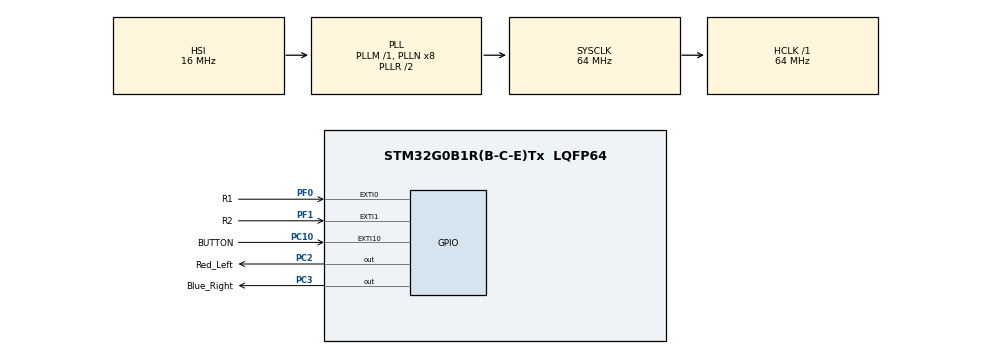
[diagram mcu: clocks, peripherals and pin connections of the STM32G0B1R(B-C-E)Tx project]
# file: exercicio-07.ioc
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Mcu.Family=STM32G0
Mcu.Name=STM32G0B1R(B-C-E)Tx
Mcu.Package=LQFP64
NVIC.EXTI0_1_IRQn=true\:0\:0\:false\:false\:true\:true\:true
NVIC.EXTI4_15_IRQn=true\:0\:0\:false\:false\:true\:true\:true
NVIC.RCC_CRS_IRQn=true\:0\:0\:false\:false\:true\:true\:false
PA13.Mode=Serial_Wire
PA13.Signal=SYS_SWDIO
PA14-BOOT0.Mode=Serial_Wire
PA14-BOOT0.Signal=SYS_SWCLK
PC10.GPIO_Label=BUTTON
PC10.GPIO_ModeDefaultEXTI=GPIO_MODE_IT_FALLING
PC10.GPIO_PuPd=GPIO_NOPULL
PC10.Signal=GPXTI10
PC2.GPIO_Label=Red_Left
PC2.GPIO_ModeDefaultOutputPP=GPIO_MODE_OUTPUT_PP
PC2.GPIO_PuPd=GPIO_PULLDOWN
PC2.GPIO_Speed=GPIO_SPEED_FREQ_VERY_HIGH
PC2.PinState=GPIO_PIN_RESET
PC2.Signal=GPIO_Output
PC3.GPIO_Label=Blue_Right
PC3.GPIO_ModeDefaultOutputPP=GPIO_MODE_OUTPUT_PP
PC3.GPIO_PuPd=GPIO_PULLDOWN
PC3.GPIO_Speed=GPIO_SPEED_FREQ_VERY_HIGH
PC3.PinState=GPIO_PIN_RESET
PC3.Signal=GPIO_Output
PF0-OSC_IN\ (PF0).GPIO_Label=R1
PF0-OSC_IN\ (PF0).GPIO_ModeDefaultEXTI=GPIO_MODE_IT_FALLING
PF0-OSC_IN\ (PF0).GPIO_PuPd=GPIO_NOPULL
PF0-OSC_IN\ (PF0).Signal=GPXTI0
PF1-OSC_OUT\ (PF1).GPIO_Label=R2
PF1-OSC_OUT\ (PF1).GPIO_ModeDefaultEXTI=GPIO_MODE_IT_FALLING
PF1-OSC_OUT\ (PF1).GPIO_PuPd=GPIO_NOPULL
PF1-OSC_OUT\ (PF1).Signal=GPXTI1
ProjectManager.HeapSize=0x200
ProjectManager.StackSize=0x400
ProjectManager.TargetToolchain=STM32CubeIDE
RCC.ADCFreq_Value=64000000
RCC.AHBFreq_Value=64000000
RCC.CortexFreq_Value=64000000
RCC.EXTERNAL_CLOCK_VALUE=48000
RCC.HCLKFreq_Value=64000000
RCC.HSE_VALUE=8000000
RCC.HSI48_VALUE=48000000
RCC.HSI_VALUE=16000000
RCC.LSE_VALUE=32768
RCC.SYSCLKFreq_VALUE=64000000
RCC.SYSCLKSource=RCC_SYSCLKSOURCE_PLLCLK
RCC.USBFreq_Value=48000000
RCC.VCOOutputFreq_Value=128000000
VP_SYS_VS_DBSignals.Mode=DisableDeadBatterySignals
board=custom

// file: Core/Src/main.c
/* USER CODE BEGIN Header */
/**
  ******************************************************************************
  * @file           : main.c
  * @brief          : Main program body
  ******************************************************************************
  * @attention
  *
  * Copyright (c) 2022 STMicroelectronics.
  * All rights reserved.
  *
  * This software is licensed under terms that can be found in the LICENSE file
  * in the root directory of this software component.
  * If no LICENSE file comes with this software, it is provided AS-IS.
  *
  ******************************************************************************
  */
/* USER CODE END Header */
#include "main.h"

/* USER CODE BEGIN Includes */
#include <stdint.h>
/* USER CODE END Includes */

/* USER CODE BEGIN PV */
typedef enum{
	LUZ_APAGADA,
	LUZ_VERMELHA,
	LUZ_AZUL
}luz_e;

luz_e luz=LUZ_APAGADA;
/* USER CODE END PV */

void SystemClock_Config(void);
static void MX_GPIO_Init(void);

/* USER CODE BEGIN 0 */
void HAL_GPIO_EXTI_Falling_Callback(uint16_t GPIO_Pin)
{
		if(HAL_GPIO_ReadPin(BUTTON_GPIO_Port, BUTTON_Pin)==0)
		{
			  luz=LUZ_APAGADA;
		}
       if(HAL_GPIO_ReadPin(R1_GPIO_Port, R1_Pin)==1)
       {
    	   if(HAL_GPIO_ReadPin(R2_GPIO_Port, R2_Pin)==0)
    	   {
    		   luz=LUZ_AZUL;
    	   }

       }
       else if(HAL_GPIO_ReadPin(R2_GPIO_Port, R2_Pin)==1)
	   {
		   luz=LUZ_VERMELHA;
	   }
}

/* USER CODE END 0 */

int main(void)
{

  /* MCU Configuration--------------------------------------------------------*/

  /* Reset of all peripherals, Initializes the Flash interface and the Systick. */
  HAL_Init();

  /* Configure the system clock */
  SystemClock_Config();

  /* Initialize all configured peripherals */
  MX_GPIO_Init();

  /* Infinite loop */
  /* USER CODE BEGIN WHILE */
  while (1)
  {
	  if(luz==1)
	  {
		  HAL_GPIO_WritePin(Red_Left_GPIO_Port, Red_Left_Pin, 1);
		  HAL_GPIO_WritePin(Blue_Right_GPIO_Port, Blue_Right_Pin, 0);
	  }
	  else if(luz==2)
	  {
		  HAL_GPIO_WritePin(Red_Left_GPIO_Port, Red_Left_Pin, 0);
		  HAL_GPIO_WritePin(Blue_Right_GPIO_Port, Blue_Right_Pin, 1);
	  }
	  else
	  {
		  HAL_GPIO_WritePin(Red_Left_GPIO_Port, Red_Left_Pin, 0);
		  HAL_GPIO_WritePin(Blue_Right_GPIO_Port, Blue_Right_Pin, 0);
	  }

    /* USER CODE END WHILE */

  }
}

void SystemClock_Config(void)
{
  RCC_OscInitTypeDef RCC_OscInitStruct = {0};
  RCC_ClkInitTypeDef RCC_ClkInitStruct = {0};

  /** Configure the main internal regulator output voltage
  */
  HAL_PWREx_ControlVoltageScaling(PWR_REGULATOR_VOLTAGE_SCALE1);
  /** Initializes the RCC Oscillators according to the specified parameters
  * in the RCC_OscInitTypeDef structure.
  */
  RCC_OscInitStruct.OscillatorType = RCC_OSCILLATORTYPE_HSI;
  RCC_OscInitStruct.HSIState = RCC_HSI_ON;
  RCC_OscInitStruct.HSIDiv = RCC_HSI_DIV1;
  RCC_OscInitStruct.HSICalibrationValue = RCC_HSICALIBRATION_DEFAULT;
  RCC_OscInitStruct.PLL.PLLState = RCC_PLL_ON;
  RCC_OscInitStruct.PLL.PLLSource = RCC_PLLSOURCE_HSI;
  RCC_OscInitStruct.PLL.PLLM = RCC_PLLM_DIV1;
  RCC_OscInitStruct.PLL.PLLN = 8;
  RCC_OscInitStruct.PLL.PLLP = RCC_PLLP_DIV2;
  RCC_OscInitStruct.PLL.PLLQ = RCC_PLLQ_DIV2;
  RCC_OscInitStruct.PLL.PLLR = RCC_PLLR_DIV2;
  if (HAL_RCC_OscConfig(&RCC_OscInitStruct) != HAL_OK)
  {
    Error_Handler();
  }
  /** Initializes the CPU, AHB and APB buses clocks
  */
  RCC_ClkInitStruct.ClockType = RCC_CLOCKTYPE_HCLK|RCC_CLOCKTYPE_SYSCLK
                              |RCC_CLOCKTYPE_PCLK1;
  RCC_ClkInitStruct.SYSCLKSource = RCC_SYSCLKSOURCE_PLLCLK;
  RCC_ClkInitStruct.AHBCLKDivider = RCC_SYSCLK_DIV1;
  RCC_ClkInitStruct.APB1CLKDivider = RCC_HCLK_DIV1;

  if (HAL_RCC_ClockConfig(&RCC_ClkInitStruct, FLASH_LATENCY_2) != HAL_OK)
  {
    Error_Handler();
  }
}

static void MX_GPIO_Init(void)
{
  GPIO_InitTypeDef GPIO_InitStruct = {0};

  /* GPIO Ports Clock Enable */
  __HAL_RCC_GPIOF_CLK_ENABLE();
  __HAL_RCC_GPIOC_CLK_ENABLE();
  __HAL_RCC_GPIOA_CLK_ENABLE();

  /*Configure GPIO pin Output Level */
  HAL_GPIO_WritePin(GPIOC, Red_Left_Pin|Blue_Right_Pin, GPIO_PIN_RESET);

  /*Configure GPIO pins : R1_Pin R2_Pin */
  GPIO_InitStruct.Pin = R1_Pin|R2_Pin;
  GPIO_InitStruct.Mode = GPIO_MODE_IT_FALLING;
  GPIO_InitStruct.Pull = GPIO_NOPULL;
  HAL_GPIO_Init(GPIOF, &GPIO_InitStruct);

  /*Configure GPIO pins : Red_Left_Pin Blue_Right_Pin */
  GPIO_InitStruct.Pin = Red_Left_Pin|Blue_Right_Pin;
  GPIO_InitStruct.Mode = GPIO_MODE_OUTPUT_PP;
  GPIO_InitStruct.Pull = GPIO_PULLDOWN;
  GPIO_InitStruct.Speed = GPIO_SPEED_FREQ_VERY_HIGH;
  HAL_GPIO_Init(GPIOC, &GPIO_InitStruct);

  /*Configure GPIO pin : BUTTON_Pin */
  GPIO_InitStruct.Pin = BUTTON_Pin;
  GPIO_InitStruct.Mode = GPIO_MODE_IT_FALLING;
  GPIO_InitStruct.Pull = GPIO_NOPULL;
  HAL_GPIO_Init(BUTTON_GPIO_Port, &GPIO_InitStruct);

  /* EXTI interrupt init*/
  HAL_NVIC_SetPriority(EXTI0_1_IRQn, 0, 0);
  HAL_NVIC_EnableIRQ(EXTI0_1_IRQn);

  HAL_NVIC_SetPriority(EXTI4_15_IRQn, 0, 0);
  HAL_NVIC_EnableIRQ(EXTI4_15_IRQn);

}

void Error_Handler(void)
{
  __disable_irq();
  while (1)
  {
  }
}
